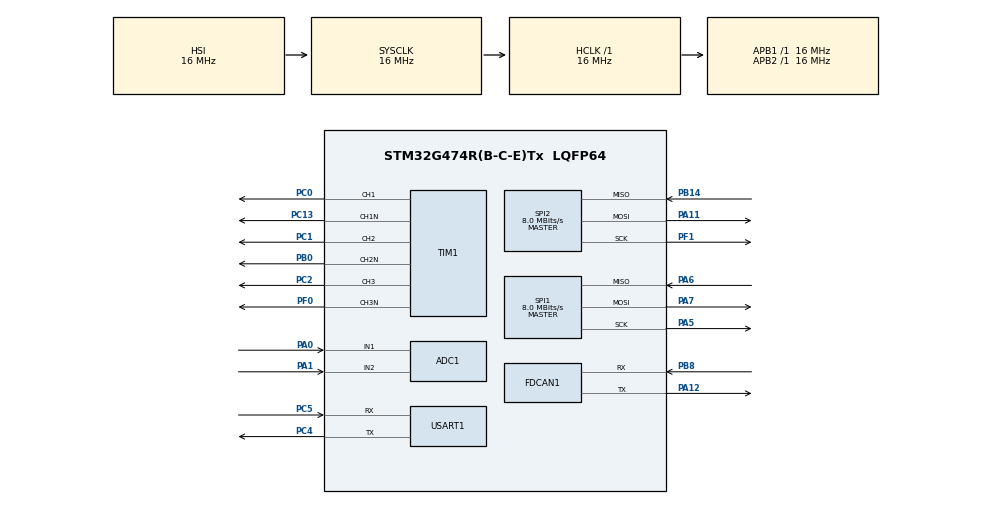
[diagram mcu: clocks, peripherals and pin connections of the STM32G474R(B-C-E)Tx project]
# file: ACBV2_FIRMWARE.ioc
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ADC1.Channel-3\#ChannelRegularConversion=ADC_CHANNEL_1
ADC1.NbrOfConversionFlag=1
ADC1.OffsetNumber-3\#ChannelRegularConversion=ADC_OFFSET_NONE
ADC1.Rank-3\#ChannelRegularConversion=1
ADC1.SamplingTime-3\#ChannelRegularConversion=ADC_SAMPLETIME_2CYCLES_5
ADC1.SingleDiff-3\#ChannelRegularConversion=ADC_DIFFERENTIAL_ENDED
ADC1.master=1
FDCAN1.CalculateBaudRateNominal=333333
FDCAN1.CalculateTimeBitNominal=3000
FDCAN1.CalculateTimeQuantumNominal=1000.0
Mcu.Family=STM32G4
Mcu.Name=STM32G474R(B-C-E)Tx
Mcu.Package=LQFP64
NVIC.PriorityGroup=NVIC_PRIORITYGROUP_4
NVIC.SPI1_IRQn=true\:0\:0\:false\:false\:true\:true\:true\:true
NVIC.SPI2_IRQn=true\:0\:0\:false\:false\:true\:true\:true\:true
NVIC.TIM6_DAC_IRQn=true\:0\:0\:false\:false\:true\:true\:true\:true
PA0.Mode=IN1-Differential
PA0.Signal=ADC1_IN1
PA1.Mode=IN1-Differential
PA1.Signal=ADC1_IN2
PA11.Mode=Full_Duplex_Master
PA11.Signal=SPI2_MOSI
PA12.Mode=FDCAN_Activate
PA12.Signal=FDCAN1_TX
PA2.Signal=ADC1_IN3
PA5.Mode=Full_Duplex_Master
PA5.Signal=SPI1_SCK
PA6.Mode=Full_Duplex_Master
PA6.Signal=SPI1_MISO
PA7.Mode=Full_Duplex_Master
PA7.Signal=SPI1_MOSI
PA8.Signal=ADC5_IN1
PB0.Mode=PWM Generation2 CH2 CH2N
PB0.Signal=TIM1_CH2N
PB14.Mode=Full_Duplex_Master
PB14.Signal=SPI2_MISO
PB15.Signal=GPXTI15
PB3.Signal=GPXTI3
PB8-BOOT0.Mode=FDCAN_Activate
PB8-BOOT0.Signal=FDCAN1_RX
PC0.Signal=S_TIM1_CH1
PC1.Signal=S_TIM1_CH2
PC13.Mode=PWM Generation1 CH1 CH1N
PC13.Signal=TIM1_CH1N
PC2.Signal=S_TIM1_CH3
PC4.Mode=Asynchronous
PC4.Signal=USART1_TX
PC5.Mode=Asynchronous
PC5.Signal=USART1_RX
PF0-OSC_IN.Mode=PWM Generation3 CH3 CH3N
PF0-OSC_IN.Signal=TIM1_CH3N
PF1-OSC_OUT.Mode=Full_Duplex_Master
PF1-OSC_OUT.Signal=SPI2_SCK
ProjectManager.HeapSize=0x200
ProjectManager.StackSize=0x400
ProjectManager.TargetToolchain=Makefile
RCC.AHBFreq_Value=16000000
RCC.APB1Freq_Value=16000000
RCC.APB1TimFreq_Value=16000000
RCC.APB2Freq_Value=16000000
RCC.APB2TimFreq_Value=16000000
RCC.CortexFreq_Value=16000000
RCC.EXTERNAL_CLOCK_VALUE=12288000
RCC.HCLKFreq_Value=16000000
RCC.HSE_VALUE=8000000
RCC.HSI48_VALUE=48000000
RCC.HSI_VALUE=16000000
RCC.LSE_VALUE=32768
RCC.SYSCLKFreq_VALUE=16000000
RCC.USBFreq_Value=64000000
RCC.VCOOutputFreq_Value=128000000
SH.S_TIM1_CH1.0=TIM1_CH1,PWM Generation1 CH1 CH1N
SH.S_TIM1_CH2.0=TIM1_CH2,PWM Generation2 CH2 CH2N
SH.S_TIM1_CH3.0=TIM1_CH3,PWM Generation3 CH3 CH3N
SPI1.CalculateBaudRate=8.0 MBits/s
SPI1.Direction=SPI_DIRECTION_2LINES
SPI1.Mode=SPI_MODE_MASTER
SPI1.VirtualType=VM_MASTER
SPI2.CalculateBaudRate=8.0 MBits/s
SPI2.Direction=SPI_DIRECTION_2LINES
SPI2.Mode=SPI_MODE_MASTER
SPI2.VirtualType=VM_MASTER
TIM1.Channel-PWM\ Generation1\ CH1\ CH1N=TIM_CHANNEL_1
TIM1.Channel-PWM\ Generation2\ CH2\ CH2N=TIM_CHANNEL_2
TIM1.Channel-PWM\ Generation3\ CH3\ CH3N=TIM_CHANNEL_3
TIM6.PeriodNoDither=20-1
TIM6.Prescaler=8000-1
USART1.VirtualMode-Asynchronous=VM_ASYNC
VP_SYS_VS_DBSignals.Mode=DisableDeadBatterySignals
VP_TIM6_VS_ClockSourceINT.Mode=Enable_Timer
board=custom

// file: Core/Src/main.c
/* USER CODE BEGIN Header */
/**
  ******************************************************************************
  * @file           : main.c
  * @brief          : Main program body
  ******************************************************************************
  * @attention
  *
  * Copyright (c) 2026 STMicroelectronics.
  * All rights reserved.
  *
  * This software is licensed under terms that can be found in the LICENSE file
  * in the root directory of this software component.
  * If no LICENSE file comes with this software, it is provided AS-IS.
  *
  ******************************************************************************
  */
/* USER CODE END Header */
#include "main.h"

ADC_HandleTypeDef hadc1;

FDCAN_HandleTypeDef hfdcan1;

SPI_HandleTypeDef hspi1;
SPI_HandleTypeDef hspi2;

TIM_HandleTypeDef htim1;
TIM_HandleTypeDef htim6;

UART_HandleTypeDef huart1;

/* USER CODE BEGIN PV */
ADC_HandleTypeDef hadc2;
ADC_HandleTypeDef hadc5;
/* USER CODE END PV */

void SystemClock_Config(void);
static void MX_GPIO_Init(void);
static void MX_ADC1_Init(void);
static void MX_FDCAN1_Init(void);
static void MX_SPI1_Init(void);
static void MX_SPI2_Init(void);
static void MX_TIM1_Init(void);
static void MX_USART1_UART_Init(void);
static void MX_TIM6_Init(void);
/* USER CODE BEGIN PFP */
uint8_t msg[1024];
uint8_t tx_spi_buf[1024];
uint8_t rx_spi_buf[1024];
ACBConfig acbConfig;
FOC_Parameter focparameter;
/* USER CODE END PFP */

int main(void)
{

  /* MCU Configuration--------------------------------------------------------*/

  /* Reset of all peripherals, Initializes the Flash interface and the Systick. */
  HAL_Init();

  /* Configure the system clock */
  SystemClock_Config();

  /* Initialize all configured peripherals */
  MX_GPIO_Init();
  MX_ADC1_Init();
  MX_FDCAN1_Init();
  MX_SPI1_Init();
  MX_SPI2_Init();
  MX_TIM1_Init();
  MX_USART1_UART_Init();
  MX_TIM6_Init();
  /* USER CODE BEGIN 2 */
  Motor_Init();
  Read_Config();
  /* USER CODE END 2 */

  /* Infinite loop */
  /* USER CODE BEGIN WHILE */
  while (1)
  {
      run_motor(acbConfig,focparameter);
    /* USER CODE END WHILE */

  }
}

void SystemClock_Config(void)
{
  RCC_OscInitTypeDef RCC_OscInitStruct = {0};
  RCC_ClkInitTypeDef RCC_ClkInitStruct = {0};

  /** Configure the main internal regulator output voltage
  */
  HAL_PWREx_ControlVoltageScaling(PWR_REGULATOR_VOLTAGE_SCALE1);

  /** Initializes the RCC Oscillators according to the specified parameters
  * in the RCC_OscInitTypeDef structure.
  */
  RCC_OscInitStruct.OscillatorType = RCC_OSCILLATORTYPE_HSI;
  RCC_OscInitStruct.HSIState = RCC_HSI_ON;
  RCC_OscInitStruct.HSICalibrationValue = RCC_HSICALIBRATION_DEFAULT;
  RCC_OscInitStruct.PLL.PLLState = RCC_PLL_NONE;
  if (HAL_RCC_OscConfig(&RCC_OscInitStruct) != HAL_OK)
  {
    Error_Handler();
  }

  /** Initializes the CPU, AHB and APB buses clocks
  */
  RCC_ClkInitStruct.ClockType = RCC_CLOCKTYPE_HCLK|RCC_CLOCKTYPE_SYSCLK
                              |RCC_CLOCKTYPE_PCLK1|RCC_CLOCKTYPE_PCLK2;
  RCC_ClkInitStruct.SYSCLKSource = RCC_SYSCLKSOURCE_HSI;
  RCC_ClkInitStruct.AHBCLKDivider = RCC_SYSCLK_DIV1;
  RCC_ClkInitStruct.APB1CLKDivider = RCC_HCLK_DIV1;
  RCC_ClkInitStruct.APB2CLKDivider = RCC_HCLK_DIV1;

  if (HAL_RCC_ClockConfig(&RCC_ClkInitStruct, FLASH_LATENCY_0) != HAL_OK)
  {
    Error_Handler();
  }
}

static void MX_ADC1_Init(void)
{

  ADC_MultiModeTypeDef multimode = {0};
  ADC_ChannelConfTypeDef sConfig = {0};

  /** Common config
  */
  hadc1.Instance = ADC1;
  hadc1.Init.ClockPrescaler = ADC_CLOCK_SYNC_PCLK_DIV2;
  hadc1.Init.Resolution = ADC_RESOLUTION_12B;
  hadc1.Init.DataAlign = ADC_DATAALIGN_RIGHT;
  hadc1.Init.GainCompensation = 0;
  hadc1.Init.ScanConvMode = ADC_SCAN_DISABLE;
  hadc1.Init.EOCSelection = ADC_EOC_SINGLE_CONV;
  hadc1.Init.LowPowerAutoWait = DISABLE;
  hadc1.Init.ContinuousConvMode = DISABLE;
  hadc1.Init.NbrOfConversion = 1;
  hadc1.Init.DiscontinuousConvMode = DISABLE;
  hadc1.Init.ExternalTrigConv = ADC_SOFTWARE_START;
  hadc1.Init.ExternalTrigConvEdge = ADC_EXTERNALTRIGCONVEDGE_NONE;
  hadc1.Init.DMAContinuousRequests = DISABLE;
  hadc1.Init.Overrun = ADC_OVR_DATA_PRESERVED;
  hadc1.Init.OversamplingMode = DISABLE;
  if (HAL_ADC_Init(&hadc1) != HAL_OK)
  {
    Error_Handler();
  }

  /** Configure the ADC multi-mode
  */
  multimode.Mode = ADC_MODE_INDEPENDENT;
  if (HAL_ADCEx_MultiModeConfigChannel(&hadc1, &multimode) != HAL_OK)
  {
    Error_Handler();
  }

  /** Configure Regular Channel
  */
  sConfig.Channel = ADC_CHANNEL_1;
  sConfig.Rank = ADC_REGULAR_RANK_1;
  sConfig.SamplingTime = ADC_SAMPLETIME_2CYCLES_5;
  sConfig.SingleDiff = ADC_DIFFERENTIAL_ENDED;
  sConfig.OffsetNumber = ADC_OFFSET_NONE;
  sConfig.Offset = 0;
  if (HAL_ADC_ConfigChannel(&hadc1, &sConfig) != HAL_OK)
  {
    Error_Handler();
  }

}

static void MX_FDCAN1_Init(void)
{

  hfdcan1.Instance = FDCAN1;
  hfdcan1.Init.ClockDivider = FDCAN_CLOCK_DIV1;
  hfdcan1.Init.FrameFormat = FDCAN_FRAME_CLASSIC;
  hfdcan1.Init.Mode = FDCAN_MODE_NORMAL;
  hfdcan1.Init.AutoRetransmission = DISABLE;
  hfdcan1.Init.TransmitPause = DISABLE;
  hfdcan1.Init.ProtocolException = DISABLE;
  hfdcan1.Init.NominalPrescaler = 16;
  hfdcan1.Init.NominalSyncJumpWidth = 1;
  hfdcan1.Init.NominalTimeSeg1 = 1;
  hfdcan1.Init.NominalTimeSeg2 = 1;
  hfdcan1.Init.DataPrescaler = 1;
  hfdcan1.Init.DataSyncJumpWidth = 1;
  hfdcan1.Init.DataTimeSeg1 = 1;
  hfdcan1.Init.DataTimeSeg2 = 1;
  hfdcan1.Init.StdFiltersNbr = 0;
  hfdcan1.Init.ExtFiltersNbr = 0;
  hfdcan1.Init.TxFifoQueueMode = FDCAN_TX_FIFO_OPERATION;
  if (HAL_FDCAN_Init(&hfdcan1) != HAL_OK)
  {
    Error_Handler();
  }

}

static void MX_SPI1_Init(void)
{

  /* SPI1 parameter configuration*/
  hspi1.Instance = SPI1;
  hspi1.Init.Mode = SPI_MODE_MASTER;
  hspi1.Init.Direction = SPI_DIRECTION_2LINES;
  hspi1.Init.DataSize = SPI_DATASIZE_4BIT;
  hspi1.Init.CLKPolarity = SPI_POLARITY_LOW;
  hspi1.Init.CLKPhase = SPI_PHASE_1EDGE;
  hspi1.Init.NSS = SPI_NSS_SOFT;
  hspi1.Init.BaudRatePrescaler = SPI_BAUDRATEPRESCALER_2;
  hspi1.Init.FirstBit = SPI_FIRSTBIT_MSB;
  hspi1.Init.TIMode = SPI_TIMODE_DISABLE;
  hspi1.Init.CRCCalculation = SPI_CRCCALCULATION_DISABLE;
  hspi1.Init.CRCPolynomial = 7;
  hspi1.Init.CRCLength = SPI_CRC_LENGTH_DATASIZE;
  hspi1.Init.NSSPMode = SPI_NSS_PULSE_ENABLE;
  if (HAL_SPI_Init(&hspi1) != HAL_OK)
  {
    Error_Handler();
  }

}

static void MX_SPI2_Init(void)
{

  /* SPI2 parameter configuration*/
  hspi2.Instance = SPI2;
  hspi2.Init.Mode = SPI_MODE_MASTER;
  hspi2.Init.Direction = SPI_DIRECTION_2LINES;
  hspi2.Init.DataSize = SPI_DATASIZE_4BIT;
  hspi2.Init.CLKPolarity = SPI_POLARITY_LOW;
  hspi2.Init.CLKPhase = SPI_PHASE_1EDGE;
  hspi2.Init.NSS = SPI_NSS_SOFT;
  hspi2.Init.BaudRatePrescaler = SPI_BAUDRATEPRESCALER_2;
  hspi2.Init.FirstBit = SPI_FIRSTBIT_MSB;
  hspi2.Init.TIMode = SPI_TIMODE_DISABLE;
  hspi2.Init.CRCCalculation = SPI_CRCCALCULATION_DISABLE;
  hspi2.Init.CRCPolynomial = 7;
  hspi2.Init.CRCLength = SPI_CRC_LENGTH_DATASIZE;
  hspi2.Init.NSSPMode = SPI_NSS_PULSE_ENABLE;
  if (HAL_SPI_Init(&hspi2) != HAL_OK)
  {
    Error_Handler();
  }

}

static void MX_TIM1_Init(void)
{

  TIM_MasterConfigTypeDef sMasterConfig = {0};
  TIM_OC_InitTypeDef sConfigOC = {0};
  TIM_BreakDeadTimeConfigTypeDef sBreakDeadTimeConfig = {0};

  htim1.Instance = TIM1;
  htim1.Init.Prescaler = 0;
  htim1.Init.CounterMode = TIM_COUNTERMODE_UP;
  htim1.Init.Period = 65535;
  htim1.Init.ClockDivision = TIM_CLOCKDIVISION_DIV1;
  htim1.Init.RepetitionCounter = 0;
  htim1.Init.AutoReloadPreload = TIM_AUTORELOAD_PRELOAD_DISABLE;
  if (HAL_TIM_PWM_Init(&htim1) != HAL_OK)
  {
    Error_Handler();
  }
  sMasterConfig.MasterOutputTrigger = TIM_TRGO_RESET;
  sMasterConfig.MasterOutputTrigger2 = TIM_TRGO2_RESET;
  sMasterConfig.MasterSlaveMode = TIM_MASTERSLAVEMODE_DISABLE;
  if (HAL_TIMEx_MasterConfigSynchronization(&htim1, &sMasterConfig) != HAL_OK)
  {
    Error_Handler();
  }
  sConfigOC.OCMode = TIM_OCMODE_PWM1;
  sConfigOC.Pulse = 0;
  sConfigOC.OCPolarity = TIM_OCPOLARITY_HIGH;
  sConfigOC.OCNPolarity = TIM_OCNPOLARITY_HIGH;
  sConfigOC.OCFastMode = TIM_OCFAST_DISABLE;
  sConfigOC.OCIdleState = TIM_OCIDLESTATE_RESET;
  sConfigOC.OCNIdleState = TIM_OCNIDLESTATE_RESET;
  if (HAL_TIM_PWM_ConfigChannel(&htim1, &sConfigOC, TIM_CHANNEL_1) != HAL_OK)
  {
    Error_Handler();
  }
  if (HAL_TIM_PWM_ConfigChannel(&htim1, &sConfigOC, TIM_CHANNEL_2) != HAL_OK)
  {
    Error_Handler();
  }
  if (HAL_TIM_PWM_ConfigChannel(&htim1, &sConfigOC, TIM_CHANNEL_3) != HAL_OK)
  {
    Error_Handler();
  }
  sBreakDeadTimeConfig.OffStateRunMode = TIM_OSSR_DISABLE;
  sBreakDeadTimeConfig.OffStateIDLEMode = TIM_OSSI_DISABLE;
  sBreakDeadTimeConfig.LockLevel = TIM_LOCKLEVEL_OFF;
  sBreakDeadTimeConfig.DeadTime = 0;
  sBreakDeadTimeConfig.BreakState = TIM_BREAK_DISABLE;
  sBreakDeadTimeConfig.BreakPolarity = TIM_BREAKPOLARITY_HIGH;
  sBreakDeadTimeConfig.BreakFilter = 0;
  sBreakDeadTimeConfig.BreakAFMode = TIM_BREAK_AFMODE_INPUT;
  sBreakDeadTimeConfig.Break2State = TIM_BREAK2_DISABLE;
  sBreakDeadTimeConfig.Break2Polarity = TIM_BREAK2POLARITY_HIGH;
  sBreakDeadTimeConfig.Break2Filter = 0;
  sBreakDeadTimeConfig.Break2AFMode = TIM_BREAK_AFMODE_INPUT;
  sBreakDeadTimeConfig.AutomaticOutput = TIM_AUTOMATICOUTPUT_DISABLE;
  if (HAL_TIMEx_ConfigBreakDeadTime(&htim1, &sBreakDeadTimeConfig) != HAL_OK)
  {
    Error_Handler();
  }
  HAL_TIM_MspPostInit(&htim1);

}

static void MX_TIM6_Init(void)
{

  TIM_MasterConfigTypeDef sMasterConfig = {0};

  htim6.Instance = TIM6;
  htim6.Init.Prescaler = 8000-1;
  htim6.Init.CounterMode = TIM_COUNTERMODE_UP;
  htim6.Init.Period = 19;
  htim6.Init.AutoReloadPreload = TIM_AUTORELOAD_PRELOAD_DISABLE;
  if (HAL_TIM_Base_Init(&htim6) != HAL_OK)
  {
    Error_Handler();
  }
  sMasterConfig.MasterOutputTrigger = TIM_TRGO_RESET;
  sMasterConfig.MasterSlaveMode = TIM_MASTERSLAVEMODE_DISABLE;
  if (HAL_TIMEx_MasterConfigSynchronization(&htim6, &sMasterConfig) != HAL_OK)
  {
    Error_Handler();
  }

}

static void MX_USART1_UART_Init(void)
{

  huart1.Instance = USART1;
  huart1.Init.BaudRate = 115200;
  huart1.Init.WordLength = UART_WORDLENGTH_8B;
  huart1.Init.StopBits = UART_STOPBITS_1;
  huart1.Init.Parity = UART_PARITY_NONE;
  huart1.Init.Mode = UART_MODE_TX_RX;
  huart1.Init.HwFlowCtl = UART_HWCONTROL_NONE;
  huart1.Init.OverSampling = UART_OVERSAMPLING_16;
  huart1.Init.OneBitSampling = UART_ONE_BIT_SAMPLE_DISABLE;
  huart1.Init.ClockPrescaler = UART_PRESCALER_DIV1;
  huart1.AdvancedInit.AdvFeatureInit = UART_ADVFEATURE_NO_INIT;
  if (HAL_UART_Init(&huart1) != HAL_OK)
  {
    Error_Handler();
  }
  if (HAL_UARTEx_SetTxFifoThreshold(&huart1, UART_TXFIFO_THRESHOLD_1_8) != HAL_OK)
  {
    Error_Handler();
  }
  if (HAL_UARTEx_SetRxFifoThreshold(&huart1, UART_RXFIFO_THRESHOLD_1_8) != HAL_OK)
  {
    Error_Handler();
  }
  if (HAL_UARTEx_DisableFifoMode(&huart1) != HAL_OK)
  {
    Error_Handler();
  }

}

static void MX_GPIO_Init(void)
{
  GPIO_InitTypeDef GPIO_InitStruct = {0};

  /* GPIO Ports Clock Enable */
  __HAL_RCC_GPIOC_CLK_ENABLE();
  __HAL_RCC_GPIOF_CLK_ENABLE();
  __HAL_RCC_GPIOA_CLK_ENABLE();
  __HAL_RCC_GPIOB_CLK_ENABLE();

  /*Configure GPIO pins : PB15 PB3 */
  GPIO_InitStruct.Pin = GPIO_PIN_15|GPIO_PIN_3;
  GPIO_InitStruct.Mode = GPIO_MODE_IT_RISING;
  GPIO_InitStruct.Pull = GPIO_NOPULL;
  HAL_GPIO_Init(GPIOB, &GPIO_InitStruct);

  /*Configure GPIO pin : PA8 */
  GPIO_InitStruct.Pin = GPIO_PIN_8;
  GPIO_InitStruct.Mode = GPIO_MODE_ANALOG;
  GPIO_InitStruct.Pull = GPIO_NOPULL;
  HAL_GPIO_Init(GPIOA, &GPIO_InitStruct);

}

/* USER CODE BEGIN 4 */
HAL_TIM_PeriodElapsedCallback(TIM_HandleTypeDef *htim) {
  if (htim == &htim6) {
    board_temperature = calculateBoardTemperature();
    bus_voltage = calculateBusVoltage();
    internal_temperature = calculateInternalTemperature();

  }

}

void HAL_UART_RxCpltCallback(UART_HandleTypeDef *huart) {
  process_serial_message();
}
/* USER CODE END 4 */

void Error_Handler(void)
{
  __disable_irq();
  while (1)
  {
  }
}
